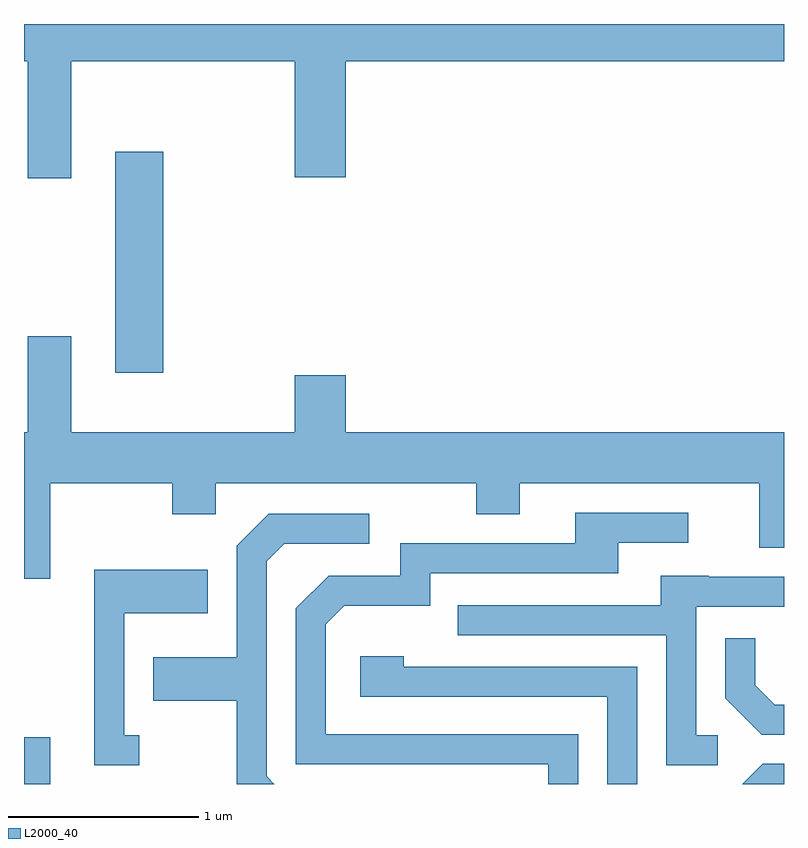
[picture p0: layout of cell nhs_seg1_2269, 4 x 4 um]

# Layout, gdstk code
import gdstk
lib = gdstk.Library(unit=1e-6, precision=1e-09)
def R(c, l, rs):  # rectangles x0, y0, x1, y1
    for r in rs: c.add(gdstk.rectangle(r[:2], r[2:], *l))
def P(c, l, *ps):  # polygons
    for p in ps: c.add(gdstk.Polygon(p, *l))
L2000_40 = (2000, 40)

nhs_seg1_2269 = lib.new_cell('nhs_seg1_2269')
R(nhs_seg1_2269, L2000_40, [(253.611,955.712,253.749,955.959), (254.091,957.876,254.344,959.039)])
P(nhs_seg1_2269, L2000_40, [(253.859,959.516),(255.036,959.516),(255.036,958.906),(255.304,958.906),(255.304,959.516),(257.611,959.516),(257.611,959.712),(253.611,959.712),(253.611,959.516),(253.631,959.516),(253.631,958.901),(253.859,958.901)],
  [(253.749,957.296),(254.391,957.296),(254.391,957.131),(254.619,957.131),(254.619,957.296),(255.991,957.296),(255.991,957.131),(256.219,957.131),(256.219,957.296),(257.481,957.296),(257.481,956.956),(257.611,956.956),(257.611,957.564),(255.304,957.564),(255.304,957.864),(255.036,957.864),(255.036,957.564),(253.859,957.564),(253.859,958.069),(253.631,958.069),(253.631,957.564),(253.611,957.564),(253.611,956.791),(253.749,956.791)],
  [(256.529,955.974),(255.199,955.974),(255.199,956.554),(255.297,956.651),(255.749,956.651),(255.749,956.821),(256.739,956.821),(256.739,956.981),(257.108,956.981),(257.108,957.139),(256.511,957.139),(256.511,956.979),(255.591,956.979),(255.591,956.809),(255.214,956.809),(255.041,956.637),(255.041,955.816),(256.371,955.816),(256.371,955.712),(256.529,955.712)],
  [(254.889,955.752),(254.889,956.884),(254.982,956.976),(255.428,956.976),(255.428,957.134),(254.899,957.134),(254.731,956.967),(254.731,956.379),(254.291,956.379),(254.291,956.151),(254.731,956.151),(254.731,955.712),(254.929,955.712)],
  [(254.218,955.969),(254.139,955.969),(254.139,956.611),(254.579,956.611),(254.579,956.839),(253.981,956.839),(253.981,955.811),(254.218,955.811)],
  [(257.263,955.969),(257.149,955.969),(257.149,956.646),(257.611,956.646),(257.611,956.804),(257.215,956.804),(257.215,956.809),(256.961,956.809),(256.961,956.654),(255.893,956.654),(255.893,956.496),(256.991,956.496),(256.991,955.811),(257.263,955.811)],
  [(257.611,956.129),(257.562,956.129),(257.459,956.232),(257.459,956.478),(257.301,956.478),(257.301,956.164),(257.493,955.971),(257.611,955.971)],
  [(256.839,956.329),(255.609,956.329),(255.609,956.384),(255.381,956.384),(255.381,956.171),(256.681,956.171),(256.681,955.712),(256.839,955.712)],
  [(257.611,955.819),(257.498,955.819),(257.392,955.712),(257.611,955.712)])

lib.write_gds('nhs_seg1_2269.gds')
